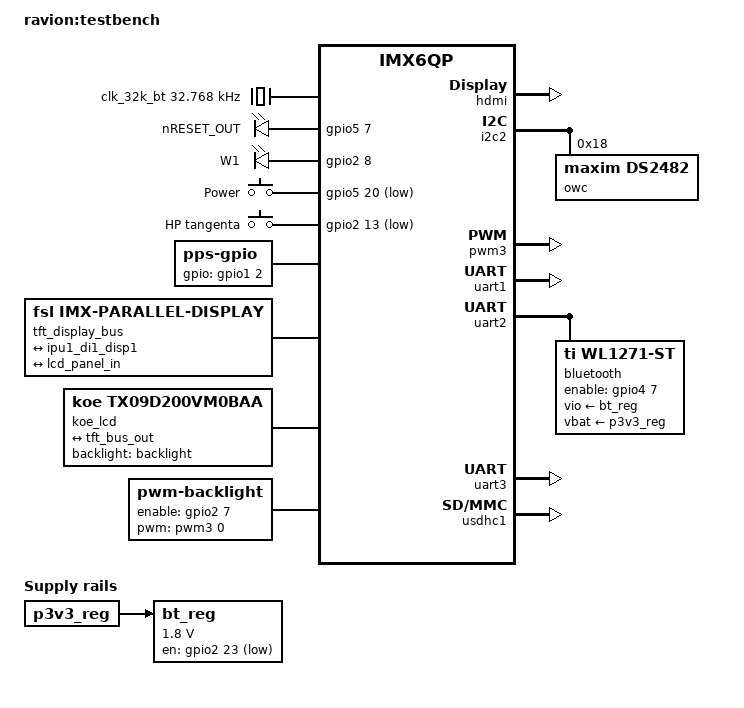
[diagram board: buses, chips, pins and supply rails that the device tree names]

/dts-v1/;

#define IMX6DL

#include <dt-bindings/input/input.h>
#include <dt-bindings/interrupt-controller/irq.h>
#include "imx6qp.dtsi"
#include "imx6qdl-ravion.dtsi"

/ {
	model = "ravion:testbench";
	compatible = "ravion,imx6qp", "fsl,imx6qp";

	/*
	 * Device specific clocks
	 */
	clocks {
		clk_32k_bt: bt_clk {
			compatible = "fixed-clock";
			#clock-cells = <0>;
			clock-frequency = <32768>;
			clock-accuracy = <100>;
		 };
	};

	/*
	 * Device specific regulators
	 */
	bt_reg: bt_vio {
			pinctrl-names = "default";
			pinctrl-0 = <&pinctrl_reg_bt>;
			compatible = "regulator-fixed";
			regulator-name = "VIO_BT";
			regulator-min-microvolt = <1800000>;
			regulator-max-microvolt = <1800000>;
			gpio = <&gpio2 23 GPIO_ACTIVE_LOW>; /* SODIMM 104 */
			regulator-always-on;
			vin-supply = <&p3v3_reg>;
	};

	/*
	 * Device specific leds
	 */
	gpio-leds {
		compatible = "gpio-leds";
		pinctrl-names = "default";
		pinctrl-0 = <&pinctrl_gpio_leds>;

		reset_out {
			label = "nRESET_OUT";
			gpios = <&gpio5 7 GPIO_ACTIVE_HIGH>; /* SODIMM  87 */
			default-state = "on";
		};

		w1 {
			label = "W1";
			gpios = <&gpio2 8 GPIO_ACTIVE_HIGH>; /* SODIMM 127 */
			default-state = "on";
		};
	};

	/*
	 * Device specific keys
	 */
	gpio-keys {
		compatible = "gpio-keys";
		pinctrl-names = "default";
		pinctrl-0 = <&pinctrl_gpio_keys>;

		power {
			label = "Power";
			gpios = <&gpio5 20 GPIO_ACTIVE_LOW>; /* soDimm 45 */
			linux,code = <KEY_POWER>;
			debounce-interval = <100>;
			wakeup-source;
		};

		hp_tangenta {
			label = "HP tangenta";
			gpios = <&gpio2 13 GPIO_ACTIVE_LOW>; /* SODIMM 100 */
			linux,code = <KEY_F2>;
			debounce-interval = <100>;
		};
	};

	/*
	 * PPS pin from SNS receiver
	 */
	pps {
		compatible = "pps-gpio";
		pinctrl-names = "default";
		pinctrl-0 = <&pinctrl_pps_gpio>;

		gpios = <&gpio1 2 GPIO_ACTIVE_HIGH>; /* soDimm 55 */
		assert-falling-edge;
		status = "okay";
	};

	/*
	 * Graphics and video subsystem (TFT interface)
	 */
	tft_display_bus: parallel-display {
		compatible = "fsl,imx-parallel-display";
		#address-cells = <1>;
		#size-cells = <0>;
		interface-pix-fmt = "rgb24";
		pinctrl-names = "default";
		pinctrl-0 = <&pinctrl_ipu1_di1>;
		status = "okay";

		port@0 {
			reg = <0>;
			tft_bus_in: endpoint {
				remote-endpoint = <&ipu1_di1_disp1>;
			};
		};

		port@1 {
			reg = <1>;
			tft_bus_out: endpoint {
				remote-endpoint = <&lcd_panel_in>;
			};
		};
	};

	/*
	 * TFT LCD Panel
	 */
	koe_lcd: panel {
		compatible = "koe,tx09d200vm0baa";
		backlight = <&backlight>;
		status = "okay";

		port {
			lcd_panel_in: endpoint {
				remote-endpoint = <&tft_bus_out>;
			};
		};
	};

	backlight: backlight {
		pinctrl-names = "default";
		pinctrl-0 = <&pinctrl_gpio_bl_on>;
		compatible = "pwm-backlight";
		enable-gpios = <&gpio2 7 GPIO_ACTIVE_HIGH>;	/* soDimm 125 */
		pwms = <&pwm3 0 500>;
		brightness-levels = <0 31 63 95 127 159 191 223 255>;
		default-brightness-level = <4>;
		status = "okay";
	};

	/*
	 *     Ravion200 boards without i index have Primary parrallel RGB.
	 * display connected to ipu1_di1, secondary HDMI display connected
	 * to ipu1_di0.
	 */
	display-subsystem {
		compatible = "fsl,imx-display-subsystem";
		ports = <&ipu1_di1>, <&ipu1_di0>;
	};
};

/*
 * IPU to TFT bus connector
 */
&ipu1_di1_disp1 {
	remote-endpoint = <&tft_bus_in>;
};

/*
 * Display subsystem
 */
/delete-node/&ipu1_di1_hdmi;
/delete-node/&hdmi_mux_1;
&hdmi	{	status = "okay";	};

/*
 * Colibri I2C: I2C2_SDA/SCL on SODIMM 194/196 (compatible)
 */
&i2c2 {
	status = "okay";

	/* DS2484: I2C to OneWire Converter */
	owc: ds2482@18 {
		status = "okay";
		compatible = "maxim,ds2482";
		reg = <0x18>;
	};
};

/* Only pwm3 used as bright contol, all other - disabled  */
&pwm3 { status = "okay";	}; /* soDimm 28 - LCD bright */

/* Uarts */
&uart1 { status = "okay"; }; /* default full feature uart */
&uart2 { /* default CTS/RTS uart */
	status = "okay";

	bluetooth {
		pinctrl-names = "default";
		pinctrl-0 = <&pinctrl_bluetooth>;

		enable-gpios	= <&gpio4 7 GPIO_ACTIVE_HIGH>; /* soDimm: 134 */
		compatible	= "ti,wl1271-st";
		clocks		= <&clk_32k_bt 0>;
		clock-names	= "ext_clock";
		max-speed	= <3686400>;
		/*
		 * Params not found in source, but described in documentation
		 */
		current-speed	= <115200>;
		vio-supply	= <&bt_reg>;
		vbat-supply	= <&p3v3_reg>;
		status = "okay";
	};
};
&uart3 { status = "okay"; }; /* default 3-wire uart */

/* external (compatible) mmc card */
&usdhc1 { status = "okay"; };

/* Board specific io muxing */
&iomuxc {
	pinctrl_gpio_bl_on: gpioblon {
		fsl,pins = <
			MX6QDL_PAD_NANDF_D7__GPIO2_IO07	0x1b0b0 /* soDimm 125: BL_ON  */
		>;
	};

	pinctrl_bluetooth: gpio-bluetooth {
		fsl,pins = <
			MX6QDL_PAD_KEY_ROW0__GPIO4_IO07	0x0f058 /* PU_22K soDimm 134: nBT_PDN */
		>;
	};

	pinctrl_reg_bt: gpio-reg-bt {
		fsl,pins = <
			MX6QDL_PAD_EIM_CS0__GPIO2_IO23	0x0f058 /* PU_22K soDimm 104: BT_PWR */
		>;
	};



	pinctrl_gpio_leds: gpio-leds {
		fsl,pins = <
			MX6QDL_PAD_DISP0_DAT13__GPIO5_IO07	0xf058 /* soDimm87: nRESET_OUT  */
			MX6QDL_PAD_SD4_DAT0__GPIO2_IO08		0xf058 /* soDImm127: SLPZ@DS2484R */
		>;
	};

	pinctrl_gpio_keys: gpio-keys {
		fsl,pins = <
			MX6QDL_PAD_CSI0_DATA_EN__GPIO5_IO20	0x1b0b0	/* Power Button soDimm  45 */
			MX6QDL_PAD_SD4_DAT5__GPIO2_IO13		0x1b0b0	/* HP Tangenta:	soDimm 100 */
		>;
	};

	pinctrl_pps_gpio: gpiopps {
		fsl,pins = <
			MX6QDL_PAD_GPIO_2__GPIO1_IO02		0x1b0b0 /* soDimm 55 */
		>;
	};
};
